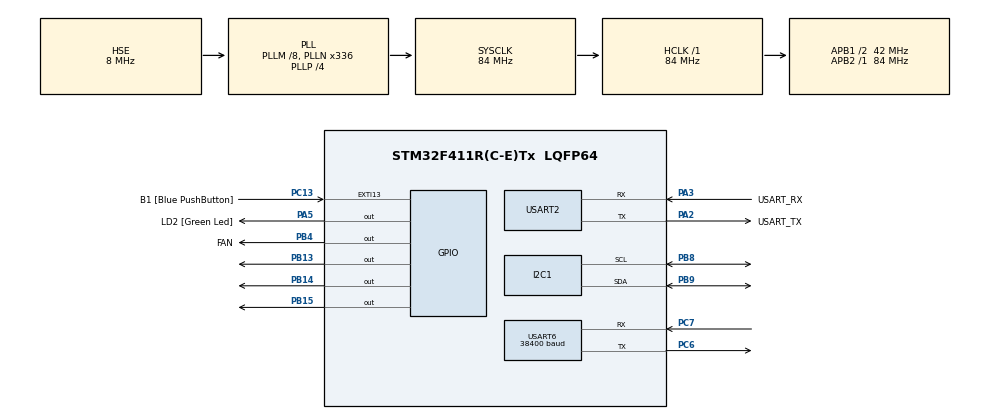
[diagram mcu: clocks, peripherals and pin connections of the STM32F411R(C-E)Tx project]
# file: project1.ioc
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FREERTOS.Mutexes01=ESP_Mutex,Dynamic,NULL,Available;NTP_Mutex,Dynamic,NULL,Available;Weather_Mutex,Dynamic,NULL,Available
FREERTOS.Tasks01=AiotTask,24,256,Aiot_Task,Default,NULL,Dynamic,NULL,NULL;NTPTask,8,512,NTP_Task,Default,NULL,Dynamic,NULL,NULL;WeatherTask,16,1024,Weather_Task,Default,NULL,Dynamic,NULL,NULL;CommandTask,24,256,Command_Task,Default,NULL,Dynamic,NULL,NULL
Mcu.Family=STM32F4
Mcu.Name=STM32F411R(C-E)Tx
Mcu.Package=LQFP64
NVIC.PriorityGroup=NVIC_PRIORITYGROUP_4
NVIC.RTC_Alarm_IRQn=true\:5\:0\:false\:false\:true\:true\:true\:true\:true
NVIC.TIM3_IRQn=true\:5\:0\:false\:false\:true\:true\:true\:true\:true
NVIC.USART2_IRQn=true\:5\:0\:false\:false\:true\:true\:true\:true\:true
NVIC.USART6_IRQn=true\:5\:0\:false\:false\:true\:true\:true\:true\:true
PA13.GPIO_Label=TMS
PA13.Mode=Serial_Wire
PA13.Signal=SYS_JTMS-SWDIO
PA14.GPIO_Label=TCK
PA14.Mode=Serial_Wire
PA14.Signal=SYS_JTCK-SWCLK
PA2.GPIO_Label=USART_TX
PA2.Mode=Asynchronous
PA2.Signal=USART2_TX
PA3.GPIO_Label=USART_RX
PA3.Mode=Asynchronous
PA3.Signal=USART2_RX
PA5.GPIO_Label=LD2 [Green Led]
PA5.Signal=GPIO_Output
PB13.Signal=GPIO_Output
PB14.Signal=GPIO_Output
PB15.Signal=GPIO_Output
PB3.GPIO_Label=SWO
PB3.Signal=SYS_JTDO-SWO
PB4.GPIO_Label=FAN
PB4.Signal=GPIO_Output
PB8.Mode=I2C
PB8.Signal=I2C1_SCL
PB9.Mode=I2C
PB9.Signal=I2C1_SDA
PC13-ANTI_TAMP.GPIO_Label=B1 [Blue PushButton]
PC13-ANTI_TAMP.GPIO_ModeDefaultEXTI=GPIO_MODE_IT_FALLING
PC13-ANTI_TAMP.Signal=GPXTI13
PC14-OSC32_IN.Signal=RCC_OSC32_IN
PC15-OSC32_OUT.Signal=RCC_OSC32_OUT
PC6.Mode=Asynchronous
PC6.Signal=USART6_TX
PC7.Mode=Asynchronous
PC7.Signal=USART6_RX
PH0\ -\ OSC_IN.Mode=HSE-External-Oscillator
PH0\ -\ OSC_IN.Signal=RCC_OSC_IN
PH1\ -\ OSC_OUT.Mode=HSE-External-Oscillator
PH1\ -\ OSC_OUT.Signal=RCC_OSC_OUT
ProjectManager.HeapSize=0x200
ProjectManager.StackSize=0x400
ProjectManager.TargetToolchain=STM32CubeIDE
RCC.48MHZClocksFreq_Value=84000000
RCC.AHBFreq_Value=84000000
RCC.APB1CLKDivider=RCC_HCLK_DIV2
RCC.APB1Freq_Value=42000000
RCC.APB1TimFreq_Value=84000000
RCC.APB2Freq_Value=84000000
RCC.APB2TimFreq_Value=84000000
RCC.CortexFreq_Value=84000000
RCC.FLatency-AdvancedSettings=FLASH_LATENCY_2
RCC.HCLKFreq_Value=84000000
RCC.HSE_VALUE=8000000
RCC.HSI_VALUE=16000000
RCC.LSE_VALUE=32768
RCC.PLLM=8
RCC.PLLN=336
RCC.PLLP=RCC_PLLP_DIV4
RCC.PLLSourceVirtual=RCC_PLLSOURCE_HSE
RCC.SYSCLKFreq_VALUE=84000000
RCC.SYSCLKSource=RCC_SYSCLKSOURCE_PLLCLK
RCC.VCOOutputFreq_Value=336000000
RTC.Alarm=RTC_ALARM_A
TIM3.AutoReloadPreload=TIM_AUTORELOAD_PRELOAD_ENABLE
TIM3.Period=1000-1
TIM3.Prescaler=84-1
USART2.VirtualMode=VM_ASYNC
USART6.BaudRate=38400
USART6.VirtualMode=VM_ASYNC
VP_FREERTOS_VS_CMSIS_V2.Mode=CMSIS_V2
VP_RTC_VS_RTC_Activate.Mode=RTC_Enabled
VP_RTC_VS_RTC_Alarm_A_Intern.Mode=Alarm A
VP_RTC_VS_RTC_Calendar.Mode=RTC_Calendar
VP_TIM3_VS_ClockSourceINT.Mode=Internal
board=NUCLEO-F411RE

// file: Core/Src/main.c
/* USER CODE BEGIN Header */
/**
  ******************************************************************************
  * @file           : main.c
  * @brief          : Main program body
  ******************************************************************************
  * @attention
  *
  * Copyright (c) 2024 STMicroelectronics.
  * All rights reserved.
  *
  * This software is licensed under terms that can be found in the LICENSE file
  * in the root directory of this software component.
  * If no LICENSE file comes with this software, it is provided AS-IS.
  *
  ******************************************************************************
  */
/* USER CODE END Header */
#include "main.h"
#include "cmsis_os.h"

/* USER CODE BEGIN Includes */
#include <stdio.h>
#include <string.h>
#include "esp.h"

#include "Aiot_Task.h"
#include "NTP_Task.h"
#include "Weather_Task.h"
#include "Command_Task.h"

/* USER CODE END Includes */

/* USER CODE BEGIN PTD */
time_t ntp_time;
/* USER CODE END PTD */

/* USER CODE BEGIN PD */
#ifdef __GNUC__
/* With GCC, small printf (option LD Linker->Libraries->Small printf
   set to 'Yes') calls __io_putchar() */
#define PUTCHAR_PROTOTYPE int __io_putchar(int ch)
#else
#define PUTCHAR_PROTOTYPE int fputc(int ch, FILE *f)
#endif /* __GNUC__ */
#define ARR_CNT 5
#define CMD_SIZE 50

/* USER CODE END PD */

I2C_HandleTypeDef hi2c1;

RTC_HandleTypeDef hrtc;

TIM_HandleTypeDef htim3;

UART_HandleTypeDef huart2;
UART_HandleTypeDef huart6;

/* Definitions for AiotTask */
osThreadId_t AiotTaskHandle;
const osThreadAttr_t AiotTask_attributes = {
  .name = "AiotTask",
  .stack_size = 256 * 4,
  .priority = (osPriority_t) osPriorityNormal,
};
/* Definitions for NTPTask */
osThreadId_t NTPTaskHandle;
const osThreadAttr_t NTPTask_attributes = {
  .name = "NTPTask",
  .stack_size = 512 * 4,
  .priority = (osPriority_t) osPriorityLow,
};
/* Definitions for WeatherTask */
osThreadId_t WeatherTaskHandle;
const osThreadAttr_t WeatherTask_attributes = {
  .name = "WeatherTask",
  .stack_size = 1024 * 4,
  .priority = (osPriority_t) osPriorityBelowNormal,
};
/* Definitions for CommandTask */
osThreadId_t CommandTaskHandle;
const osThreadAttr_t CommandTask_attributes = {
  .name = "CommandTask",
  .stack_size = 256 * 4,
  .priority = (osPriority_t) osPriorityNormal,
};
/* Definitions for ESP_Mutex */
osMutexId_t ESP_MutexHandle;
const osMutexAttr_t ESP_Mutex_attributes = {
  .name = "ESP_Mutex"
};
/* Definitions for NTP_Mutex */
osMutexId_t NTP_MutexHandle;
const osMutexAttr_t NTP_Mutex_attributes = {
  .name = "NTP_Mutex"
};
/* Definitions for Weather_Mutex */
osMutexId_t Weather_MutexHandle;
const osMutexAttr_t Weather_Mutex_attributes = {
  .name = "Weather_Mutex"
};
/* USER CODE BEGIN PV */
uint8_t rx2char;
extern cb_data_t cb_data;
extern volatile unsigned char rx2Flag;
extern volatile char rx2Data[50];
volatile int tim3Flag1Sec=1;
volatile unsigned int tim3Sec;
/* USER CODE END PV */

void SystemClock_Config(void);
static void MX_GPIO_Init(void);
static void MX_USART2_UART_Init(void);
static void MX_USART6_UART_Init(void);
static void MX_TIM3_Init(void);
static void MX_RTC_Init(void);
static void MX_I2C1_Init(void);
void Aiot_Task(void *argument);
void NTP_Task(void *argument);
void Weather_Task(void *argument);
void Command_Task(void *argument);

/* USER CODE BEGIN PFP */
char strBuff[MAX_ESP_COMMAND_LEN];
void MX_GPIO_LED_ON(int flag);
void MX_GPIO_LED_OFF(int flag);
void MX_GPIO_FAN_ON(int flag);
void MX_GPIO_FAN_OFF(int flag);
char sendBuf[MAX_UART_COMMAND_LEN]={0};
/* USER CODE END PFP */

int main(void)
{

  /* USER CODE BEGIN 1 */
  int ret = 0;
  /* USER CODE END 1 */

  /* MCU Configuration--------------------------------------------------------*/

  /* Reset of all peripherals, Initializes the Flash interface and the Systick. */
  HAL_Init();

  /* Configure the system clock */
  SystemClock_Config();

  /* Initialize all configured peripherals */
  MX_GPIO_Init();
  MX_USART2_UART_Init();
  MX_USART6_UART_Init();
  MX_TIM3_Init();
  MX_RTC_Init();
  MX_I2C1_Init();
  /* USER CODE BEGIN 2 */
  printf("Start main() - wifi\r\n");
  ret |= drv_uart_init();
  ret |= drv_esp_init();
  if(ret != 0)
  {
	  printf("Esp response error\r\n");
	  Error_Handler();
  }
  //HAL_TIM_PWM_Start(&htim1, TIM_CHANNEL_1);

  if(HAL_TIM_Base_Start_IT(&htim3) != HAL_OK)
  {
	  Error_Handler();
  }

  /* USER CODE END 2 */

  /* Init scheduler */
  osKernelInitialize();
  /* Create the mutex(es) */
  /* creation of ESP_Mutex */
  ESP_MutexHandle = osMutexNew(&ESP_Mutex_attributes);

  /* creation of NTP_Mutex */
  NTP_MutexHandle = osMutexNew(&NTP_Mutex_attributes);

  /* creation of Weather_Mutex */
  Weather_MutexHandle = osMutexNew(&Weather_Mutex_attributes);

  /* Create the thread(s) */
  /* creation of AiotTask */
  AiotTaskHandle = osThreadNew(Aiot_Task, NULL, &AiotTask_attributes);

  /* creation of NTPTask */
  NTPTaskHandle = osThreadNew(NTP_Task, NULL, &NTPTask_attributes);

  /* creation of WeatherTask */
  WeatherTaskHandle = osThreadNew(Weather_Task, NULL, &WeatherTask_attributes);

  /* creation of CommandTask */
  CommandTaskHandle = osThreadNew(Command_Task, NULL, &CommandTask_attributes);

  /* Start scheduler */
  osKernelStart();

  /* We should never get here as control is now taken by the scheduler */

  /* Infinite loop */
  /* USER CODE BEGIN WHILE */
  while (1)
  {
	// main()에서는 더 이상 처리할 것이 없음
	// 모든 기능은 FreeRTOS Task에서 처리
	osDelay(1000); // 안전을 위해 1초 대기
    /* USER CODE END WHILE */

  }
}

void SystemClock_Config(void)
{
  RCC_OscInitTypeDef RCC_OscInitStruct = {0};
  RCC_ClkInitTypeDef RCC_ClkInitStruct = {0};

  /** Configure the main internal regulator output voltage
  */
  __HAL_RCC_PWR_CLK_ENABLE();
  __HAL_PWR_VOLTAGESCALING_CONFIG(PWR_REGULATOR_VOLTAGE_SCALE1);

  /** Initializes the RCC Oscillators according to the specified parameters
  * in the RCC_OscInitTypeDef structure.
  */
  RCC_OscInitStruct.OscillatorType = RCC_OSCILLATORTYPE_LSI|RCC_OSCILLATORTYPE_HSE;
  RCC_OscInitStruct.HSEState = RCC_HSE_ON;
  RCC_OscInitStruct.LSIState = RCC_LSI_ON;
  RCC_OscInitStruct.PLL.PLLState = RCC_PLL_ON;
  RCC_OscInitStruct.PLL.PLLSource = RCC_PLLSOURCE_HSE;
  RCC_OscInitStruct.PLL.PLLM = 8;
  RCC_OscInitStruct.PLL.PLLN = 336;
  RCC_OscInitStruct.PLL.PLLP = RCC_PLLP_DIV4;
  RCC_OscInitStruct.PLL.PLLQ = 4;
  if (HAL_RCC_OscConfig(&RCC_OscInitStruct) != HAL_OK)
  {
    Error_Handler();
  }

  /** Initializes the CPU, AHB and APB buses clocks
  */
  RCC_ClkInitStruct.ClockType = RCC_CLOCKTYPE_HCLK|RCC_CLOCKTYPE_SYSCLK
                              |RCC_CLOCKTYPE_PCLK1|RCC_CLOCKTYPE_PCLK2;
  RCC_ClkInitStruct.SYSCLKSource = RCC_SYSCLKSOURCE_PLLCLK;
  RCC_ClkInitStruct.AHBCLKDivider = RCC_SYSCLK_DIV1;
  RCC_ClkInitStruct.APB1CLKDivider = RCC_HCLK_DIV2;
  RCC_ClkInitStruct.APB2CLKDivider = RCC_HCLK_DIV1;

  if (HAL_RCC_ClockConfig(&RCC_ClkInitStruct, FLASH_LATENCY_2) != HAL_OK)
  {
    Error_Handler();
  }
}

static void MX_I2C1_Init(void)
{

  hi2c1.Instance = I2C1;
  hi2c1.Init.ClockSpeed = 100000;
  hi2c1.Init.DutyCycle = I2C_DUTYCYCLE_2;
  hi2c1.Init.OwnAddress1 = 0;
  hi2c1.Init.AddressingMode = I2C_ADDRESSINGMODE_7BIT;
  hi2c1.Init.DualAddressMode = I2C_DUALADDRESS_DISABLE;
  hi2c1.Init.OwnAddress2 = 0;
  hi2c1.Init.GeneralCallMode = I2C_GENERALCALL_DISABLE;
  hi2c1.Init.NoStretchMode = I2C_NOSTRETCH_DISABLE;
  if (HAL_I2C_Init(&hi2c1) != HAL_OK)
  {
    Error_Handler();
  }

}

static void MX_RTC_Init(void)
{

  RTC_TimeTypeDef sTime = {0};
  RTC_DateTypeDef sDate = {0};
  RTC_AlarmTypeDef sAlarm = {0};

  /** Initialize RTC Only
  */
  hrtc.Instance = RTC;
  hrtc.Init.HourFormat = RTC_HOURFORMAT_24;
  hrtc.Init.AsynchPrediv = 127;
  hrtc.Init.SynchPrediv = 255;
  hrtc.Init.OutPut = RTC_OUTPUT_DISABLE;
  hrtc.Init.OutPutPolarity = RTC_OUTPUT_POLARITY_HIGH;
  hrtc.Init.OutPutType = RTC_OUTPUT_TYPE_OPENDRAIN;
  if (HAL_RTC_Init(&hrtc) != HAL_OK)
  {
    Error_Handler();
  }

  /** Initialize RTC and set the Time and Date
  */
  sTime.Hours = 0x0;
  sTime.Minutes = 0x0;
  sTime.Seconds = 0x0;
  sTime.DayLightSaving = RTC_DAYLIGHTSAVING_NONE;
  sTime.StoreOperation = RTC_STOREOPERATION_RESET;
  if (HAL_RTC_SetTime(&hrtc, &sTime, RTC_FORMAT_BCD) != HAL_OK)
  {
    Error_Handler();
  }
  sDate.WeekDay = RTC_WEEKDAY_MONDAY;
  sDate.Month = RTC_MONTH_JANUARY;
  sDate.Date = 0x1;
  sDate.Year = 0x0;

  if (HAL_RTC_SetDate(&hrtc, &sDate, RTC_FORMAT_BCD) != HAL_OK)
  {
    Error_Handler();
  }

  /** Enable the Alarm A
  */
  sAlarm.AlarmTime.Hours = 0x0;
  sAlarm.AlarmTime.Minutes = 0x0;
  sAlarm.AlarmTime.Seconds = 0x0;
  sAlarm.AlarmTime.SubSeconds = 0x0;
  sAlarm.AlarmTime.DayLightSaving = RTC_DAYLIGHTSAVING_NONE;
  sAlarm.AlarmTime.StoreOperation = RTC_STOREOPERATION_RESET;
  sAlarm.AlarmMask = RTC_ALARMMASK_NONE;
  sAlarm.AlarmSubSecondMask = RTC_ALARMSUBSECONDMASK_ALL;
  sAlarm.AlarmDateWeekDaySel = RTC_ALARMDATEWEEKDAYSEL_DATE;
  sAlarm.AlarmDateWeekDay = 0x1;
  sAlarm.Alarm = RTC_ALARM_A;
  if (HAL_RTC_SetAlarm_IT(&hrtc, &sAlarm, RTC_FORMAT_BCD) != HAL_OK)
  {
    Error_Handler();
  }

}

static void MX_TIM3_Init(void)
{

  TIM_ClockConfigTypeDef sClockSourceConfig = {0};
  TIM_MasterConfigTypeDef sMasterConfig = {0};

  htim3.Instance = TIM3;
  htim3.Init.Prescaler = 84-1;
  htim3.Init.CounterMode = TIM_COUNTERMODE_UP;
  htim3.Init.Period = 1000-1;
  htim3.Init.ClockDivision = TIM_CLOCKDIVISION_DIV1;
  htim3.Init.AutoReloadPreload = TIM_AUTORELOAD_PRELOAD_ENABLE;
  if (HAL_TIM_Base_Init(&htim3) != HAL_OK)
  {
    Error_Handler();
  }
  sClockSourceConfig.ClockSource = TIM_CLOCKSOURCE_INTERNAL;
  if (HAL_TIM_ConfigClockSource(&htim3, &sClockSourceConfig) != HAL_OK)
  {
    Error_Handler();
  }
  sMasterConfig.MasterOutputTrigger = TIM_TRGO_RESET;
  sMasterConfig.MasterSlaveMode = TIM_MASTERSLAVEMODE_DISABLE;
  if (HAL_TIMEx_MasterConfigSynchronization(&htim3, &sMasterConfig) != HAL_OK)
  {
    Error_Handler();
  }

}

static void MX_USART2_UART_Init(void)
{

  huart2.Instance = USART2;
  huart2.Init.BaudRate = 115200;
  huart2.Init.WordLength = UART_WORDLENGTH_8B;
  huart2.Init.StopBits = UART_STOPBITS_1;
  huart2.Init.Parity = UART_PARITY_NONE;
  huart2.Init.Mode = UART_MODE_TX_RX;
  huart2.Init.HwFlowCtl = UART_HWCONTROL_NONE;
  huart2.Init.OverSampling = UART_OVERSAMPLING_16;
  if (HAL_UART_Init(&huart2) != HAL_OK)
  {
    Error_Handler();
  }

}

static void MX_USART6_UART_Init(void)
{

  huart6.Instance = USART6;
  huart6.Init.BaudRate = 38400;
  huart6.Init.WordLength = UART_WORDLENGTH_8B;
  huart6.Init.StopBits = UART_STOPBITS_1;
  huart6.Init.Parity = UART_PARITY_NONE;
  huart6.Init.Mode = UART_MODE_TX_RX;
  huart6.Init.HwFlowCtl = UART_HWCONTROL_NONE;
  huart6.Init.OverSampling = UART_OVERSAMPLING_16;
  if (HAL_UART_Init(&huart6) != HAL_OK)
  {
    Error_Handler();
  }

}

static void MX_GPIO_Init(void)
{
  GPIO_InitTypeDef GPIO_InitStruct = {0};

  /* GPIO Ports Clock Enable */
  __HAL_RCC_GPIOC_CLK_ENABLE();
  __HAL_RCC_GPIOH_CLK_ENABLE();
  __HAL_RCC_GPIOA_CLK_ENABLE();
  __HAL_RCC_GPIOB_CLK_ENABLE();

  /*Configure GPIO pin Output Level */
  HAL_GPIO_WritePin(LD2_GPIO_Port, LD2_Pin, GPIO_PIN_RESET);

  /*Configure GPIO pin Output Level */
  HAL_GPIO_WritePin(GPIOB, GPIO_PIN_13|GPIO_PIN_14|GPIO_PIN_15|FAN_Pin, GPIO_PIN_RESET);

  /*Configure GPIO pin : B1_Pin */
  GPIO_InitStruct.Pin = B1_Pin;
  GPIO_InitStruct.Mode = GPIO_MODE_IT_FALLING;
  GPIO_InitStruct.Pull = GPIO_NOPULL;
  HAL_GPIO_Init(B1_GPIO_Port, &GPIO_InitStruct);

  /*Configure GPIO pin : LD2_Pin */
  GPIO_InitStruct.Pin = LD2_Pin;
  GPIO_InitStruct.Mode = GPIO_MODE_OUTPUT_PP;
  GPIO_InitStruct.Pull = GPIO_NOPULL;
  GPIO_InitStruct.Speed = GPIO_SPEED_FREQ_LOW;
  HAL_GPIO_Init(LD2_GPIO_Port, &GPIO_InitStruct);

  /*Configure GPIO pins : PB13 PB14 PB15 FAN_Pin */
  GPIO_InitStruct.Pin = GPIO_PIN_13|GPIO_PIN_14|GPIO_PIN_15|FAN_Pin;
  GPIO_InitStruct.Mode = GPIO_MODE_OUTPUT_PP;
  GPIO_InitStruct.Pull = GPIO_NOPULL;
  GPIO_InitStruct.Speed = GPIO_SPEED_FREQ_LOW;
  HAL_GPIO_Init(GPIOB, &GPIO_InitStruct);

}

/* USER CODE BEGIN 4 */
void MX_GPIO_LED_ON(int pin)
{
	HAL_GPIO_WritePin(LD2_GPIO_Port, pin, GPIO_PIN_SET);
}
void MX_GPIO_LED_OFF(int pin)
{
	HAL_GPIO_WritePin(LD2_GPIO_Port, pin, GPIO_PIN_RESET);
}
void MX_GPIO_FAN_ON(int pin)
{
	HAL_GPIO_WritePin(FAN_GPIO_Port, pin, GPIO_PIN_SET);
}
void MX_GPIO_FAN_OFF(int pin)
{
	HAL_GPIO_WritePin(FAN_GPIO_Port, pin, GPIO_PIN_RESET);
}

void HAL_TIM_PeriodElapsedCallback(TIM_HandleTypeDef *htim)		//1ms 마다 호출
{
	static int tim3Cnt = 0;
	tim3Cnt++;
	if(tim3Cnt >= 1000) //1ms * 1000 = 1Sec
	{
		tim3Flag1Sec = 1;
		tim3Sec++;
		tim3Cnt = 0;
	}
}
/* USER CODE END 4 */

void Error_Handler(void)
{
  __disable_irq();
  while (1)
  {
  }
}
